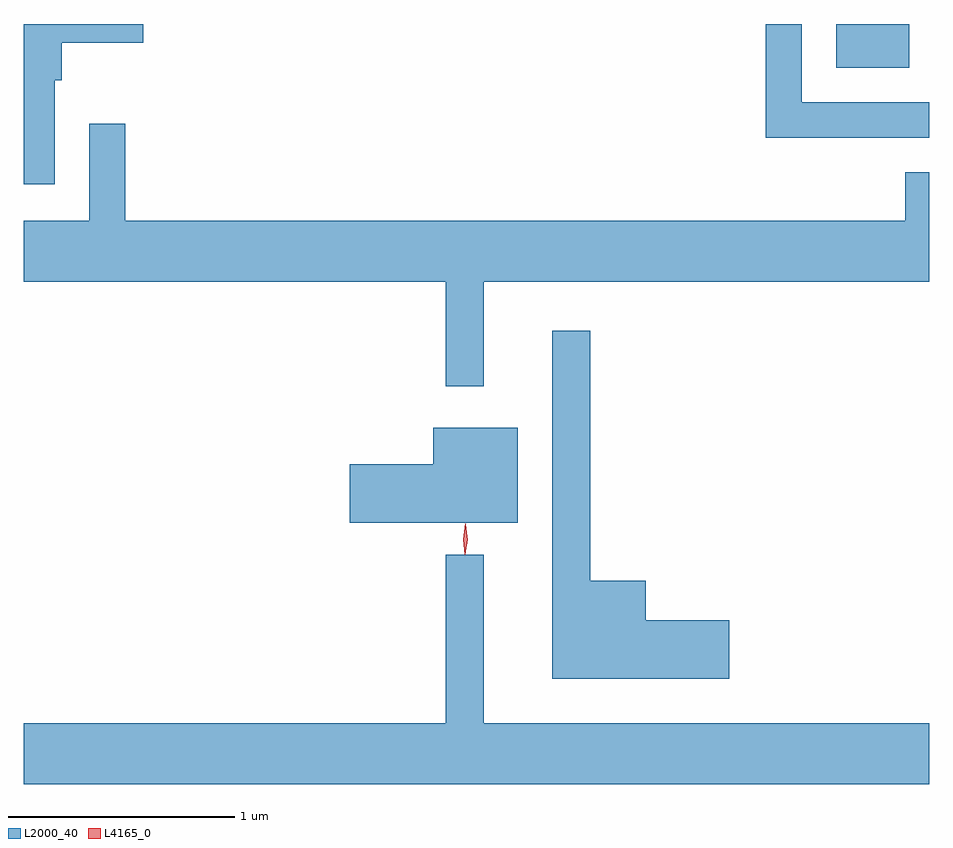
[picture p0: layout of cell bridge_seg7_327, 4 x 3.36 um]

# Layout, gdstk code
import gdstk
lib = gdstk.Library(unit=1e-6, precision=1e-09)
def R(c, l, rs):  # rectangles x0, y0, x1, y1
    for r in rs: c.add(gdstk.rectangle(r[:2], r[2:], *l))
def P(c, l, *ps):  # polygons
    for p in ps: c.add(gdstk.Polygon(p, *l))
L2000_40 = (2000, 40)
L4165_0 = (4165, 0)

bridge_seg7_327 = lib.new_cell('bridge_seg7_327')
R(bridge_seg7_327, L2000_40, [(1068.816,1797.401,1069.139,1797.594)])
P(bridge_seg7_327, L2000_40, [(1065.364,1797.346),(1065.394,1797.346),(1065.394,1797.511),(1065.754,1797.511),(1065.754,1797.594),(1065.227,1797.594),(1065.227,1796.886),(1065.364,1796.886)],
  [(1069.227,1797.249),(1068.664,1797.249),(1068.664,1797.594),(1068.506,1797.594),(1068.506,1797.091),(1069.227,1797.091)],
  [(1067.259,1796.456),(1069.227,1796.456),(1069.227,1796.939),(1069.121,1796.939),(1069.121,1796.724),(1065.674,1796.724),(1065.674,1797.153),(1065.516,1797.153),(1065.516,1796.724),(1065.227,1796.724),(1065.227,1796.456),(1067.091,1796.456),(1067.091,1795.993),(1067.259,1795.993)],
  [(1068.344,1794.959),(1067.974,1794.959),(1067.974,1795.134),(1067.729,1795.134),(1067.729,1796.238),(1067.561,1796.238),(1067.561,1794.701),(1068.344,1794.701)],
  [(1067.409,1795.809),(1067.036,1795.809),(1067.036,1795.649),(1066.666,1795.649),(1066.666,1795.391),(1067.409,1795.391)],
  [(1069.227,1794.504),(1067.259,1794.504),(1067.259,1795.248),(1067.091,1795.248),(1067.091,1794.504),(1065.227,1794.504),(1065.227,1794.236),(1069.227,1794.236)])
P(bridge_seg7_327, L4165_0, [(1067.176,1795.25),(1067.168,1795.318),(1067.178,1795.386),(1067.178,1795.386),(1067.179,1795.386),(1067.187,1795.318),(1067.177,1795.25),(1067.177,1795.25)],
  [(1067.176,1795.253),(1067.168,1795.316),(1067.178,1795.379),(1067.179,1795.38),(1067.179,1795.379),(1067.188,1795.316),(1067.177,1795.253),(1067.177,1795.253)])

lib.write_gds('bridge_seg7_327.gds')
